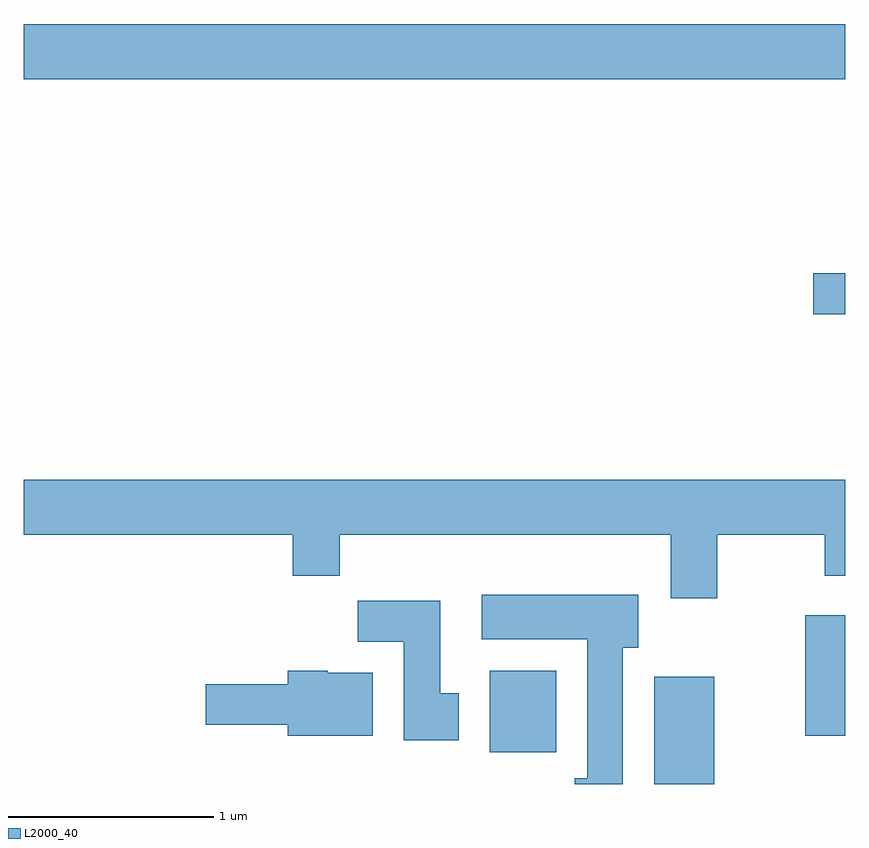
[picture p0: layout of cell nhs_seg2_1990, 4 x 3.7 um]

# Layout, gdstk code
import gdstk
lib = gdstk.Library(unit=1e-6, precision=1e-09)
def R(c, l, rs):  # rectangles x0, y0, x1, y1
    for r in rs: c.add(gdstk.rectangle(r[:2], r[2:], *l))
def P(c, l, *ps):  # polygons
    for p in ps: c.add(gdstk.Polygon(p, *l))
L2000_40 = (2000, 40)

nhs_seg2_1990 = lib.new_cell('nhs_seg2_1990')
R(nhs_seg2_1990, L2000_40, [(246.681,1013.802,246.974,1014.324), (245.881,1013.956,246.204,1014.354), (247.416,1014.036,247.611,1014.624), (247.456,1016.091,247.611,1016.289), (243.611,1017.236,247.611,1017.504)])
P(nhs_seg2_1990, L2000_40, [(246.989,1015.016),(247.511,1015.016),(247.511,1014.816),(247.611,1014.816),(247.611,1015.284),(243.611,1015.284),(243.611,1015.016),(244.921,1015.016),(244.921,1014.816),(245.149,1014.816),(245.149,1015.016),(246.761,1015.016),(246.761,1014.706),(246.989,1014.706)],
  [(246.529,1014.466),(246.604,1014.466),(246.604,1014.724),(245.841,1014.724),(245.841,1014.506),(246.356,1014.506),(246.356,1013.829),(246.293,1013.829),(246.293,1013.802),(246.529,1013.802)],
  [(245.729,1014.244),(245.639,1014.244),(245.639,1014.694),(245.236,1014.694),(245.236,1014.496),(245.461,1014.496),(245.461,1014.016),(245.729,1014.016)],
  [(245.309,1014.344),(245.09,1014.344),(245.09,1014.354),(244.896,1014.354),(244.896,1014.289),(244.496,1014.289),(244.496,1014.091),(244.896,1014.091),(244.896,1014.036),(245.309,1014.036)])

lib.write_gds('nhs_seg2_1990.gds')
